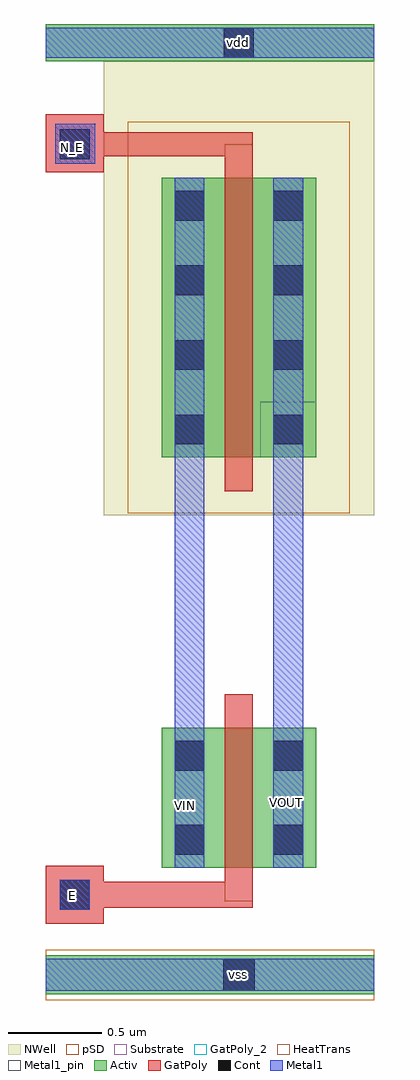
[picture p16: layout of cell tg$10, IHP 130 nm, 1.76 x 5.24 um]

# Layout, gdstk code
import gdstk
lib = gdstk.Library(unit=1e-6, precision=5e-09)
def R(c, l, rs):  # rectangles x0, y0, x1, y1
    for r in rs: c.add(gdstk.rectangle(r[:2], r[2:], *l))
def A(c, l, x, y, w, h, nx, ny, dx, dy):  # array of equal rectangles
    R(c, l, [(x+i*dx, y+j*dy, x+i*dx+w, y+j*dy+h) for i in range(nx) for j in range(ny)])
Activ = (1, 0)
GatPoly = (5, 0)
GatPoly_2 = (5, 2)
Cont = (6, 0)
Metal1 = (8, 0)
Metal1_pin = (8, 2)
pSD = (14, 0)
NWell = (31, 0)
Substrate = (40, 0)
HeatTrans = (51, 0)

pmos_1_19 = lib.new_cell('pmos$1$19')
R(pmos_1_19, Activ, [(0,0,0.3,0.3), (0,0,0.83,1.5), (0.53,0,0.83,0.3)])
R(pmos_1_19, GatPoly, [(0.34,-0.18,0.49,1.68), (0.34,-0.18,0.49,1.68)])
A(pmos_1_19, Cont, 0.07, 0.07, 0.16, 0.16, 1, 4, 0, 0.4)
A(pmos_1_19, Cont, 0.6, 0.07, 0.16, 0.16, 1, 4, 0, 0.4)
R(pmos_1_19, Metal1, [(0.07,0,0.23,1.5), (0.07,0,0.23,1.5), (0.6,0,0.76,1.5), (0.6,0,0.76,1.5)])
R(pmos_1_19, pSD, [(-0.18,-0.3,1.01,1.8)])
R(pmos_1_19, NWell, [(-0.31,-0.31,1.14,1.81)])
R(pmos_1_19, Substrate, [(0.53,0,0.83,0.3)])
R(pmos_1_19, HeatTrans, [(0.34,-0.18,0.49,1.68)])
pmos_1_19.add(gdstk.Label('pmos', (0.415,0.75), layer=63, texttype=0))
pmos_1_19.add(gdstk.Label('pmos', (0.415,0.75), layer=51, texttype=0))

nmos_1_10 = lib.new_cell('nmos$1$10')
R(nmos_1_10, Activ, [(0,0,0.3,0.3), (0,0,0.83,0.75), (0.53,0,0.83,0.3)])
R(nmos_1_10, GatPoly, [(0.34,-0.18,0.49,0.93)])
R(nmos_1_10, GatPoly_2, [(0.34,-0.18,0.49,0.93)])
R(nmos_1_10, Cont, [(0.07,0.07,0.23,0.23), (0.6,0.07,0.76,0.23), (0.07,0.52,0.23,0.68), (0.6,0.52,0.76,0.68)])
R(nmos_1_10, Metal1, [(0.07,0,0.23,0.75), (0.6,0,0.76,0.75)])
R(nmos_1_10, Metal1_pin, [(0.07,0,0.23,0.75), (0.6,0,0.76,0.75)])
R(nmos_1_10, HeatTrans, [(0.34,-0.18,0.49,0.93)])
nmos_1_10.add(gdstk.Label('nmos', (0.415,0.375), layer=63, texttype=0))
nmos_1_10.add(gdstk.Label('nmos', (0.415,0.375), layer=51, texttype=0))

tg_10 = lib.new_cell('tg$10')
R(tg_10, Activ, [(-1.035,-0.105,0.725,0.105), (-1.035,4.9,0.725,5.1)])
R(tg_10, GatPoly, [(-1.035,0.275,-0.725,0.585), (-0.725,0.36,0.075,0.5), (-1.035,4.305,-0.725,4.615), (-0.725,4.39,0.075,4.52)])
R(tg_10, Cont, [(-0.085,-0.085,0.085,0.085), (-0.96,0.35,-0.8,0.51), (-0.96,4.375,-0.8,4.535), (-0.08,4.92,0.08,5.08)])
R(tg_10, Metal1, [(-1.035,-0.085,0.725,0.085), (-0.085,-0.085,0.085,0.085), (-0.96,0.35,-0.8,0.51), (-0.345,0.83,-0.185,0.99), (0.185,0.83,0.345,0.99), (-0.345,1.06,-0.185,2.775), (0.185,1.06,0.345,2.775), (-0.985,4.35,-0.77,4.565), (-1.035,4.92,0.725,5.08), (-0.08,4.92,0.08,5.08)])
R(tg_10, Metal1_pin, [(-1.035,-0.085,0.725,0.085), (-0.085,-0.085,0.085,0.085), (-0.96,0.35,-0.8,0.51), (-0.345,0.83,-0.185,0.99), (0.185,0.83,0.345,0.99), (-0.96,4.375,-0.8,4.535), (-1.035,4.92,0.725,5.08), (-0.08,4.92,0.08,5.08)])
R(tg_10, pSD, [(-1.035,-0.135,0.725,0.135)])
R(tg_10, NWell, [(-0.725,4.585,0.725,4.9)])
tg_10.add(gdstk.Reference(pmos_1_19, (-0.415,2.775)))
tg_10.add(gdstk.Reference(nmos_1_10, (-0.415,0.575)))
tg_10.add(gdstk.Label('E', (-0.89,0.425), layer=8, texttype=2))
tg_10.add(gdstk.Label('vss', (0,0), layer=8, texttype=2))
tg_10.add(gdstk.Label('vdd', (0,5), layer=8, texttype=2))
tg_10.add(gdstk.Label('N_E', (-0.895,4.44), layer=8, texttype=2))
tg_10.add(gdstk.Label('VIN', (-0.285,0.91), layer=8, texttype=2))
tg_10.add(gdstk.Label('VOUT', (0.255,0.925), layer=8, texttype=2))

lib.write_gds('tg_10.gds')
